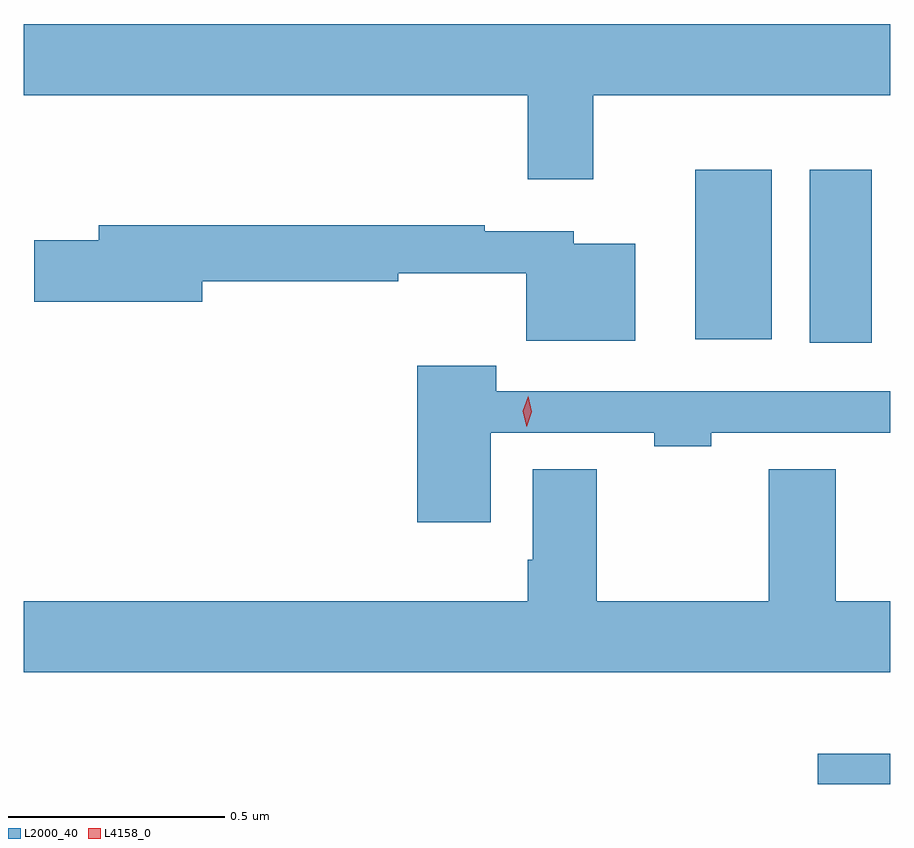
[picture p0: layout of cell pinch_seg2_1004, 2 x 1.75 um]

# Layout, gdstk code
import gdstk
lib = gdstk.Library(unit=1e-6, precision=1e-09)
def R(c, l, rs):  # rectangles x0, y0, x1, y1
    for r in rs: c.add(gdstk.rectangle(r[:2], r[2:], *l))
def P(c, l, *ps):  # polygons
    for p in ps: c.add(gdstk.Polygon(p, *l))
L2000_40 = (2000, 40)
L4158_0 = (4158, 0)

pinch_seg2_1004 = lib.new_cell('pinch_seg2_1004')
R(pinch_seg2_1004, L2000_40, [(123.189,631.394,123.356,631.464), (123.17,632.412,123.313,632.812), (122.906,632.42,123.082,632.812)])
P(pinch_seg2_1004, L2000_40, [(122.671,632.984),(123.356,632.984),(123.356,633.148),(121.356,633.148),(121.356,632.984),(122.519,632.984),(122.519,632.79),(122.671,632.79)],
  [(122.767,632.641),(122.626,632.641),(122.626,632.67),(122.42,632.67),(122.42,632.683),(121.529,632.683),(121.529,632.649),(121.38,632.649),(121.38,632.507),(121.768,632.507),(121.768,632.554),(122.22,632.554),(122.22,632.573),(122.516,632.573),(122.516,632.417),(122.767,632.417)],
  [(122.434,632.205),(122.811,632.205),(122.811,632.173),(122.943,632.173),(122.943,632.205),(123.356,632.205),(123.356,632.301),(122.447,632.301),(122.447,632.359),(122.264,632.359),(122.264,631.998),(122.434,631.998)],
  [(123.356,631.816),(123.23,631.816),(123.23,632.12),(123.076,632.12),(123.076,631.816),(122.678,631.816),(122.678,632.12),(122.531,632.12),(122.531,631.912),(122.519,631.912),(122.519,631.816),(121.356,631.816),(121.356,631.652),(123.356,631.652)])
P(pinch_seg2_1004, L4158_0, [(122.517,632.218),(122.517,632.218),(122.508,632.254),(122.52,632.289),(122.52,632.289),(122.52,632.289),(122.528,632.253),(122.517,632.218)])

lib.write_gds('pinch_seg2_1004.gds')
